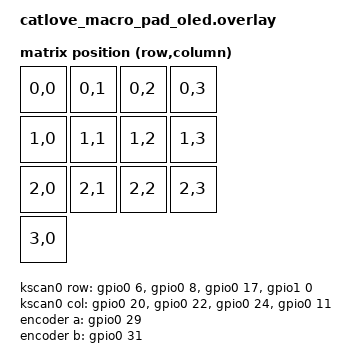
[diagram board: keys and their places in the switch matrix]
#include <dt-bindings/zmk/matrix_transform.h>
#include <dt-bindings/gpio/gpio.h>
#include <dt-bindings/pinctrl/nrf-pinctrl.h>

/ {
    chosen {
        zmk,kscan = &kscan0;
        zmk,physical-layout = &physical_layout0;
        zmk,sensors = &sensors;
        zephyr,display = &oled;
    };

    kscan0: kscan {
        compatible = "zmk,kscan-gpio-matrix";
        diode-direction = "col2row";
        row-gpios = <&gpio0 6 (GPIO_ACTIVE_HIGH | GPIO_PULL_DOWN)>,
                    <&gpio0 8 (GPIO_ACTIVE_HIGH | GPIO_PULL_DOWN)>,
                    <&gpio0 17 (GPIO_ACTIVE_HIGH | GPIO_PULL_DOWN)>,
                    <&gpio1 0 (GPIO_ACTIVE_HIGH | GPIO_PULL_DOWN)>;
        col-gpios = <&gpio0 20 GPIO_ACTIVE_HIGH>,
                    <&gpio0 22 GPIO_ACTIVE_HIGH>,
                    <&gpio0 24 GPIO_ACTIVE_HIGH>,
                    <&gpio0 11 GPIO_ACTIVE_HIGH>;
    };

    default_transform: keymap_transform_0 {
        compatible = "zmk,matrix-transform";
        rows = <4>;
        columns = <4>;
        // The encoder push switch occupies R3/C0; R3/C1..3 are unused.
        map = <
            RC(0,0) RC(0,1) RC(0,2) RC(0,3)
            RC(1,0) RC(1,1) RC(1,2) RC(1,3)
            RC(2,0) RC(2,1) RC(2,2) RC(2,3)
            RC(3,0)
        >;
    };

    encoder: encoder {
        compatible = "alps,ec11";
        // A/B swapped so that physical clockwise (right) = ZMK clockwise:
        // right turn -> C_VOL_UP, left turn -> C_VOL_DN (see keymap).
        a-gpios = <&gpio0 29 (GPIO_ACTIVE_HIGH | GPIO_PULL_UP)>;
        b-gpios = <&gpio0 31 (GPIO_ACTIVE_HIGH | GPIO_PULL_UP)>;
        // Same 20-detent / 80-transition default as the original revision.
        steps = <80>;
        status = "okay";
    };

    sensors: sensors {
        compatible = "zmk,keymap-sensors";
        sensors = <&encoder>;
        triggers-per-rotation = <20>;
    };
};

// UART defaults use P0.06/P0.08, now matrix rows. Studio uses USB CDC.
&uart0 { status = "disabled"; };
&spi1 { status = "disabled"; };

&pinctrl {
    oled_i2c_default: oled_i2c_default {
        group1 {
            psels = <NRF_PSEL(TWIM_SDA, 1, 15)>,
                    <NRF_PSEL(TWIM_SCL, 0, 2)>;
            // The OLED module has no I2C pull-ups (idle SDA/SCL measured ~1 V),
            // so use the nRF52840 internal ~13k pull-ups. External 4.7k to 3.3V
            // is still recommended.
            bias-pull-up;
        };
    };
    oled_i2c_sleep: oled_i2c_sleep {
        group1 {
            psels = <NRF_PSEL(TWIM_SDA, 1, 15)>,
                    <NRF_PSEL(TWIM_SCL, 0, 2)>;
            low-power-enable;
        };
    };
};

&pro_micro_i2c {
    status = "okay";
    pinctrl-0 = <&oled_i2c_default>;
    pinctrl-1 = <&oled_i2c_sleep>;
    pinctrl-names = "default", "sleep";
    clock-frequency = <100000>;

    oled: ssd1306@3c {
        compatible = "solomon,ssd1306fb";
        reg = <0x3c>;
        width = <128>;
        height = <32>;
        segment-offset = <0>;
        page-offset = <0>;
        display-offset = <0>;
        multiplex-ratio = <31>;
        segment-remap;
        com-invdir;
        com-sequential;
        inversion-on;
        prechargep = <0x22>;
    };
};

#include "catlove_macro_pad_oled-layouts.dtsi"
